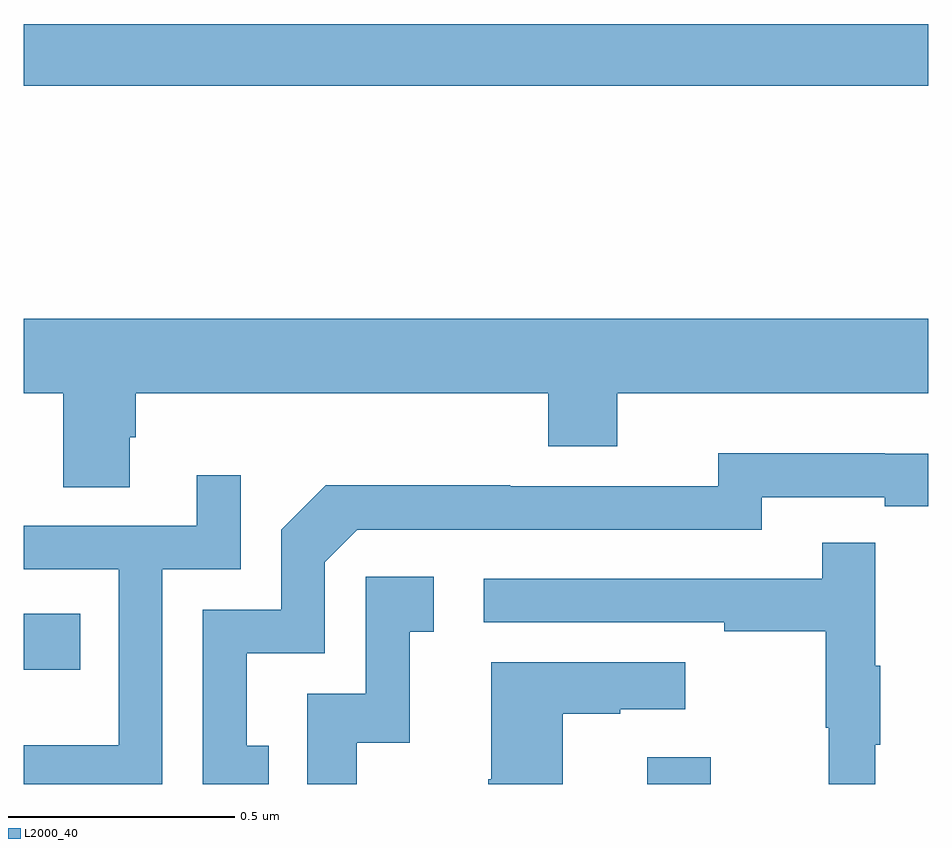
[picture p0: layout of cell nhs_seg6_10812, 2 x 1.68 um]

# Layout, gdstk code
import gdstk
lib = gdstk.Library(unit=1e-6, precision=1e-09)
def R(c, l, rs):  # rectangles x0, y0, x1, y1
    for r in rs: c.add(gdstk.rectangle(r[:2], r[2:], *l))
def P(c, l, *ps):  # polygons
    for p in ps: c.add(gdstk.Polygon(p, *l))
L2000_40 = (2000, 40)

nhs_seg6_10812 = lib.new_cell('nhs_seg6_10812')
R(nhs_seg6_10812, L2000_40, [(253.379,918.5,253.519,918.559), (252,918.753,252.125,918.876), (252,920.044,254,920.18)])
P(nhs_seg6_10812, L2000_40, [(252.235,919.266),(252.248,919.266),(252.248,919.364),(253.16,919.364),(253.16,919.247),(253.312,919.247),(253.312,919.364),(254,919.364),(254,919.528),(252,919.528),(252,919.364),(252.088,919.364),(252.088,919.156),(252.235,919.156)],
  [(252.542,918.585),(252.493,918.585),(252.493,918.789),(252.666,918.789),(252.666,918.99),(252.738,919.062),(253.632,919.062),(253.632,919.134),(253.904,919.134),(253.904,919.114),(254,919.114),(254,919.23),(253.904,919.23),(253.904,919.231),(253.536,919.231),(253.536,919.158),(253.076,919.158),(253.076,919.16),(252.668,919.16),(252.57,919.062),(252.57,918.885),(252.396,918.885),(252.396,918.5),(252.542,918.5)],
  [(252.306,918.975),(252.48,918.975),(252.48,919.183),(252.383,919.183),(252.383,919.071),(252,919.071),(252,918.975),(252.21,918.975),(252.21,918.586),(252,918.586),(252,918.5),(252.306,918.5)],
  [(253.883,918.587),(253.894,918.587),(253.894,918.761),(253.883,918.761),(253.883,919.033),(253.765,919.033),(253.765,918.954),(253.017,918.954),(253.017,918.858),(253.549,918.858),(253.549,918.838),(253.773,918.838),(253.773,918.624),(253.78,918.624),(253.78,918.5),(253.883,918.5)],
  [(252.736,918.591),(252.854,918.591),(252.854,918.837),(252.907,918.837),(252.907,918.958),(252.756,918.958),(252.756,918.699),(252.627,918.699),(252.627,918.5),(252.736,918.5)],
  [(253.192,918.655),(253.319,918.655),(253.319,918.665),(253.462,918.665),(253.462,918.769),(253.034,918.769),(253.034,918.511),(253.027,918.511),(253.027,918.5),(253.192,918.5)])

lib.write_gds('nhs_seg6_10812.gds')
